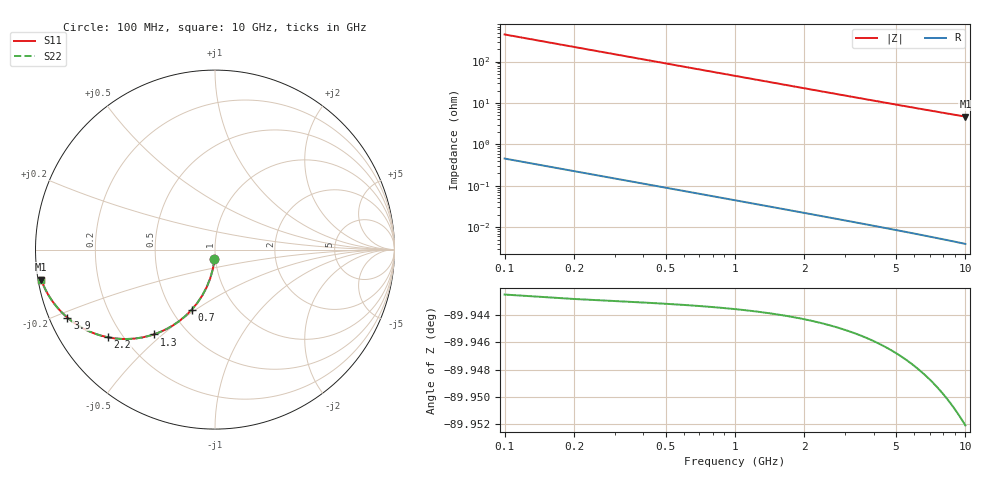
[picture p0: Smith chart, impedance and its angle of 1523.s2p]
# Hz S RI R 50.00
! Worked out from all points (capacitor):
!   100 points, 100 MHz to 10 GHz, reference 50 ohm
!   read as one part in shunt: C = 3.52 pF near 100 MHz
!   lowest |Z| = 4.69 ohm at 10 GHz (marker M1)
!   S11 on the Smith chart (normalised r, x): 100 MHz: 0.99, -0.11; 700 MHz: 0.63, -0.48; 1.3 GHz: 0.33, -0.47; 2.2 GHz: 0.15, -0.35; 3.9 GHz: 0.05, -0.22; 10 GHz: 0.01, -0.09
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1e8  -0.00308 -0.0551  0.9969 -0.0552  0.9969 -0.0552  -0.00308 -0.0551
2e8  -0.0122 -0.1091  0.9878 -0.1094  0.9878 -0.1094  -0.0122 -0.1091
3e8  -0.0269 -0.1612  0.973 -0.1616  0.973 -0.1616  -0.0269 -0.1612
4e8  -0.0468 -0.2105  0.9531 -0.2111  0.9531 -0.2111  -0.0468 -0.2105
5e8  -0.0712 -0.2564  0.9287 -0.2571  0.9287 -0.2571  -0.0712 -0.2564
6e8  -0.0994 -0.2983  0.9005 -0.2992  0.9005 -0.2992  -0.0994 -0.2983
7e8  -0.1305 -0.3359  0.8694 -0.3369  0.8694 -0.3369  -0.1305 -0.3359
8e8  -0.1639 -0.3691  0.836 -0.3703  0.836 -0.3703  -0.1639 -0.3691
1e9  -0.2344 -0.4224  0.7656 -0.4238  0.7656 -0.4238  -0.2344 -0.4224
1.3e9  -0.3408 -0.4725  0.6592 -0.4744  0.6592 -0.4744  -0.3408 -0.4725
1.5e9  -0.4076 -0.4898  0.5924 -0.492  0.5924 -0.492  -0.4076 -0.4898
1.8e9  -0.4975 -0.4982  0.5024 -0.5008  0.5024 -0.5008  -0.4975 -0.4982
2.2e9  -0.5965 -0.4885  0.4035 -0.4917  0.4035 -0.4917  -0.5965 -0.4885
2.5e9  -0.6561 -0.4727  0.3438 -0.4763  0.3438 -0.4763  -0.6561 -0.4727
2.8e9  -0.7052 -0.4534  0.2947 -0.4575  0.2947 -0.4575  -0.7052 -0.4534
3.4e9  -0.779 -0.4119  0.2209 -0.4169  0.2209 -0.4169  -0.779 -0.4119
3.9e9  -0.8226 -0.3786  0.1774 -0.3844  0.1774 -0.3844  -0.8226 -0.3786
4.5e9  -0.8605 -0.3426  0.1394 -0.3492  0.1394 -0.3492  -0.8605 -0.3426
5.1e9  -0.8879 -0.3111  0.112 -0.3186  0.112 -0.3186  -0.8879 -0.3111
6.7e9  -0.9319 -0.2464  0.068 -0.2563  0.068 -0.2563  -0.9319 -0.2464
8.4e9  -0.9556 -0.1989  0.0442 -0.2115  0.0442 -0.2115  -0.9556 -0.1989
1e10  -0.9684 -0.1667  0.0314 -0.1817  0.0314 -0.1817  -0.9684 -0.1667
